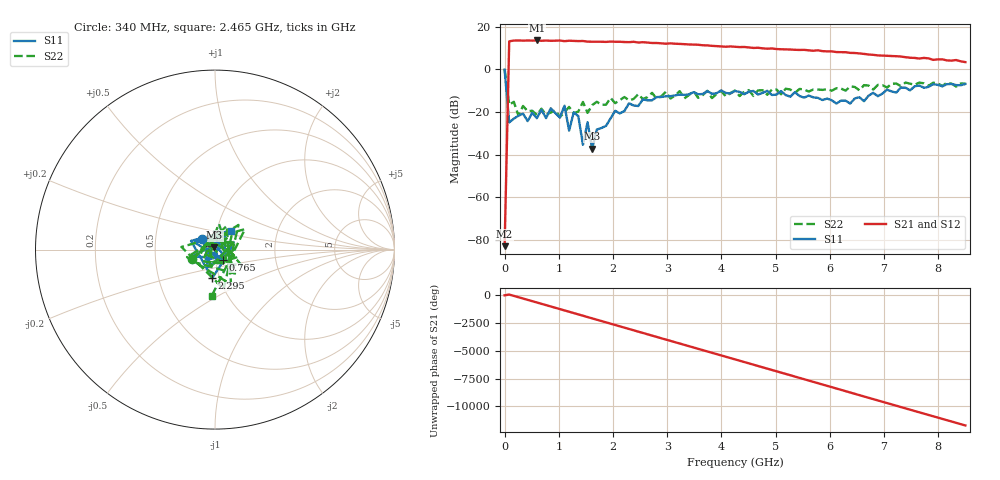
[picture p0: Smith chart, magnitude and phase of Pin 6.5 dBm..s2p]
! RsaToolbox (C) 2013 Rohde & Schwarz America
! Number of points: 101
! Number of ports: 2
! Balanced ports?: 0
# Hz S RI R 50
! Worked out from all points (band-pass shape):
!   101 points, 9 kHz to 8.5 GHz, reference 50 ohm
!   highest |S21| = 13.54 dB at 595 MHz (marker M1); lowest = -82.9 dB at 9 kHz (marker M2)
!   |S21| within 3 dB of the highest: 82.71 MHz to 4.274 GHz (4.192 GHz wide, 192 % of centre)
!   lowest |S11| = -37.2 dB at 1.615 GHz (marker M3), VSWR 1.03, Z = 49.7 + j1.34 ohm
!   |S11| at or under -10 dB: 33.87 MHz to 3.986 GHz (3.952 GHz wide, 197 % of centre); 4.005 GHz to 7.034 GHz (3.029 GHz wide, 54.9 % of centre); 7.101 GHz to 7.257 GHz (156.1 MHz wide, 2.17 % of centre)
!   |S22| runs from -22.3 to 0.0 dB; largest |S21 - S12| = 0
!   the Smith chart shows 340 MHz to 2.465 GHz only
!   S11 on the Smith chart (normalised r, x): 340 MHz: 0.86, +0.10; 765 MHz: 1.09, -0.12; 2.295 GHz: 0.92, -0.30; 2.465 GHz: 1.16, +0.25
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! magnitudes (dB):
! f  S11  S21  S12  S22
! 9 kHz  -0.1  -82.9  -82.9  0.0
! 85.01 MHz  -24.9  13.1  13.1  -16.5
! 255 MHz  -21.8  13.5  13.5  -21.7
! 340 MHz  -20.8  13.5  13.5  -17.2
! 595 MHz  -22.9  13.5  13.5  -21.4
! 765 MHz  -22.9  13.5  13.5  -21.3
! 1.105 GHz  -17.0  13.2  13.2  -20.1
! 1.19 GHz  -28.7  13.4  13.4  -17.6
! 1.275 GHz  -20.2  13.3  13.3  -20.5
! 1.36 GHz  -22.0  13.2  13.2  -19.8
! 1.445 GHz  -35.4  13.3  13.3  -15.3
! 1.53 GHz  -24.8  13.0  13.0  -20.4
! 1.615 GHz  -37.2  13.0  13.0  -16.8
! 1.7 GHz  -28.2  13.0  13.0  -15.2
! 2.295 GHz  -15.9  12.7  12.7  -14.5
! 2.465 GHz  -17.2  12.6  12.6  -11.6
! 2.89 GHz  -13.0  12.2  12.2  -12.6
! 4.25 GHz  -10.2  10.6  10.6  -9.9
! 5.695 GHz  -13.1  8.7  8.7  -9.5
! 6.375 GHz  -16.0  7.7  7.7  -8.0
! 7.14 GHz  -10.4  6.2  6.2  -6.7
! 8.5 GHz  -6.9  3.4  3.4  -6.7
